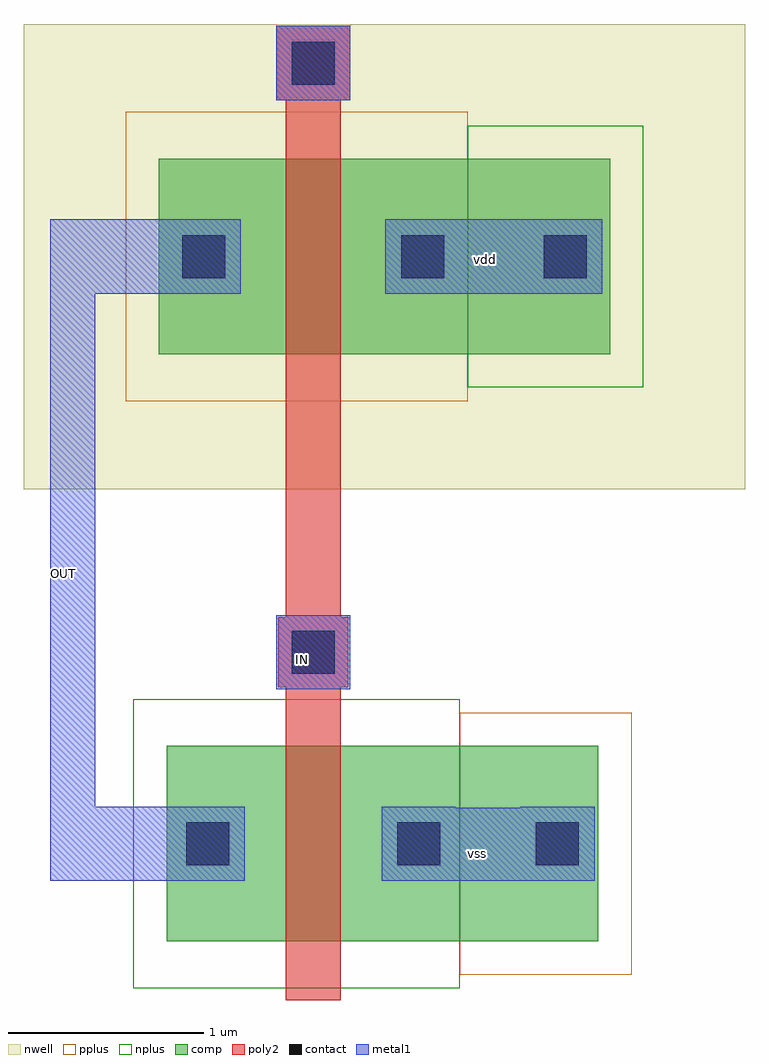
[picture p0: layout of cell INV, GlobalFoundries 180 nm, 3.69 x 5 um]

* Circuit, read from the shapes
.subckt INV IN OUT vdd vss
XM1 vss IN OUT vss nfet_03v3 w=1u l=0.28u
XM2 vdd IN OUT vdd pfet_03v3 w=1u l=0.28u
.ends

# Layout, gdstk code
import gdstk
lib = gdstk.Library(unit=1e-6, precision=5e-09)
def R(c, l, rs):  # rectangles x0, y0, x1, y1
    for r in rs: c.add(gdstk.rectangle(r[:2], r[2:], *l))
nwell = (21, 0)
comp = (22, 0)
poly2 = (30, 0)
pplus = (31, 0)
nplus = (32, 0)
contact = (33, 0)
metal1 = (34, 0)

nfet = lib.new_cell('nfet')
R(nfet, comp, [(-0.42,0,0,1), (0,0,0.66,1), (0.66,0,1.08,1), (1.08,0,1.79,1)])
R(nfet, poly2, [(0.19,-0.3,0.47,1.3), (0.15,1.3,0.51,1.66)])
R(nfet, pplus, [(1.08,-0.17,1.96,1.17)])
R(nfet, nplus, [(-0.59,-0.24,1.08,1.24)])
R(nfet, contact, [(-0.32,0.39,-0.1,0.61), (0.76,0.39,0.98,0.61), (1.47,0.39,1.69,0.61), (0.22,1.37,0.44,1.59)])
R(nfet, metal1, [(-0.4,0.31,-0.02,0.69), (0.68,0.31,1.06,0.69), (1.39,0.31,1.77,0.69), (0.14,1.29,0.52,1.67)])

pfet = lib.new_cell('pfet')
R(pfet, nwell, [(-1.15,-0.69,2.54,1.69)])
R(pfet, comp, [(-0.46,0,0,1), (0,0,0.66,1), (0.66,0,1.12,1), (1.12,0,1.85,1)])
R(pfet, poly2, [(0.19,-0.3,0.47,1.3), (0.14,1.3,0.52,1.68)])
R(pfet, pplus, [(-0.63,-0.24,1.12,1.24)])
R(pfet, nplus, [(1.12,-0.17,2.02,1.17)])
R(pfet, contact, [(-0.34,0.39,-0.12,0.61), (0.78,0.39,1,0.61), (1.51,0.39,1.73,0.61), (0.22,1.38,0.44,1.6)])
R(pfet, metal1, [(-0.42,0.31,-0.04,0.69), (0.7,0.31,1.08,0.69), (1.43,0.31,1.81,0.69), (0.14,1.3,0.52,1.68)])

inv = lib.new_cell('INV')
R(inv, poly2, [(1.955,4.99,2.235,6.435)])
R(inv, metal1, [(0.75,4.04,1.365,4.42), (0.75,4.04,0.98,7.425), (2.825,4.04,3.155,4.415), (0.75,7.045,1.345,7.425), (2.845,7.045,3.195,7.425)])
inv.add(gdstk.Reference(nfet, (1.765,3.73)))
inv.add(gdstk.Reference(pfet, (1.765,6.735)))
inv.add(gdstk.Label('OUT', (0.815,5.615), layer=34, texttype=10))
inv.add(gdstk.Label('IN', (2.04,5.175), layer=34, texttype=10))
inv.add(gdstk.Label('vdd', (2.975,7.22), layer=34, texttype=10))
inv.add(gdstk.Label('vss', (2.935,4.18), layer=34, texttype=10))

lib.write_gds('INV.gds')
